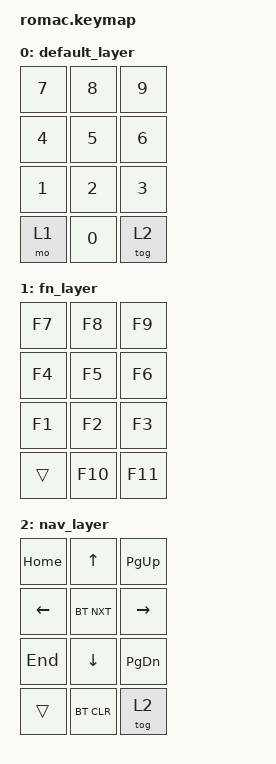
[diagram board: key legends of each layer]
/*
 * Copyright (c) 2020 The ZMK Contributors
 *
 * SPDX-License-Identifier: MIT
 */

#include <behaviors.dtsi>
#include <dt-bindings/zmk/keys.h>
#include <dt-bindings/zmk/bt.h>

/ {
    keymap {
        compatible = "zmk,keymap";

        default_layer {
// -------------------
// | 7      |  8  |  9  |
// | 4      |  5  |  6  |
// | 1      |  2  |  3  |
// | MO(1)  |  0  |  .  |
// ----------------------
            bindings = <
    &kp N7 &kp N8 &kp N9
    &kp N4 &kp N5 &kp N6
    &kp N1 &kp N2 &kp N3
    &mo 1  &kp N0 &tog 2
            >;
        };

        fn_layer {
// -----------------------
// | BTNXT |  HOME  |  PGUP  |
// | BTPRV |  END   |  PGDN  |
// | BTCLR |  _     |  _     |
// | _     |  _     |  RET   |
// -----------------------
            bindings = <
    &kp F7 &kp F8  &kp F9
    &kp F4 &kp F5  &kp F6
    &kp F1 &kp F2  &kp F3
    &trans &kp F10 &kp F11
            >;
        };

        nav_layer {
// -----------------------
// | BTNXT |  HOME  |  PGUP  |
// | BTPRV |  END   |  PGDN  |
// | BTCLR |  _     |  _     |
// | _     |  _     |  RET   |
// -----------------------
            bindings = <
    &kp HOME &kp UP     &kp PG_UP
    &kp LEFT &bt BT_NXT &kp RIGHT
    &kp END  &kp DOWN   &kp PG_DN
    &trans   &bt BT_CLR &tog 2
            >;
        };
    };
};

